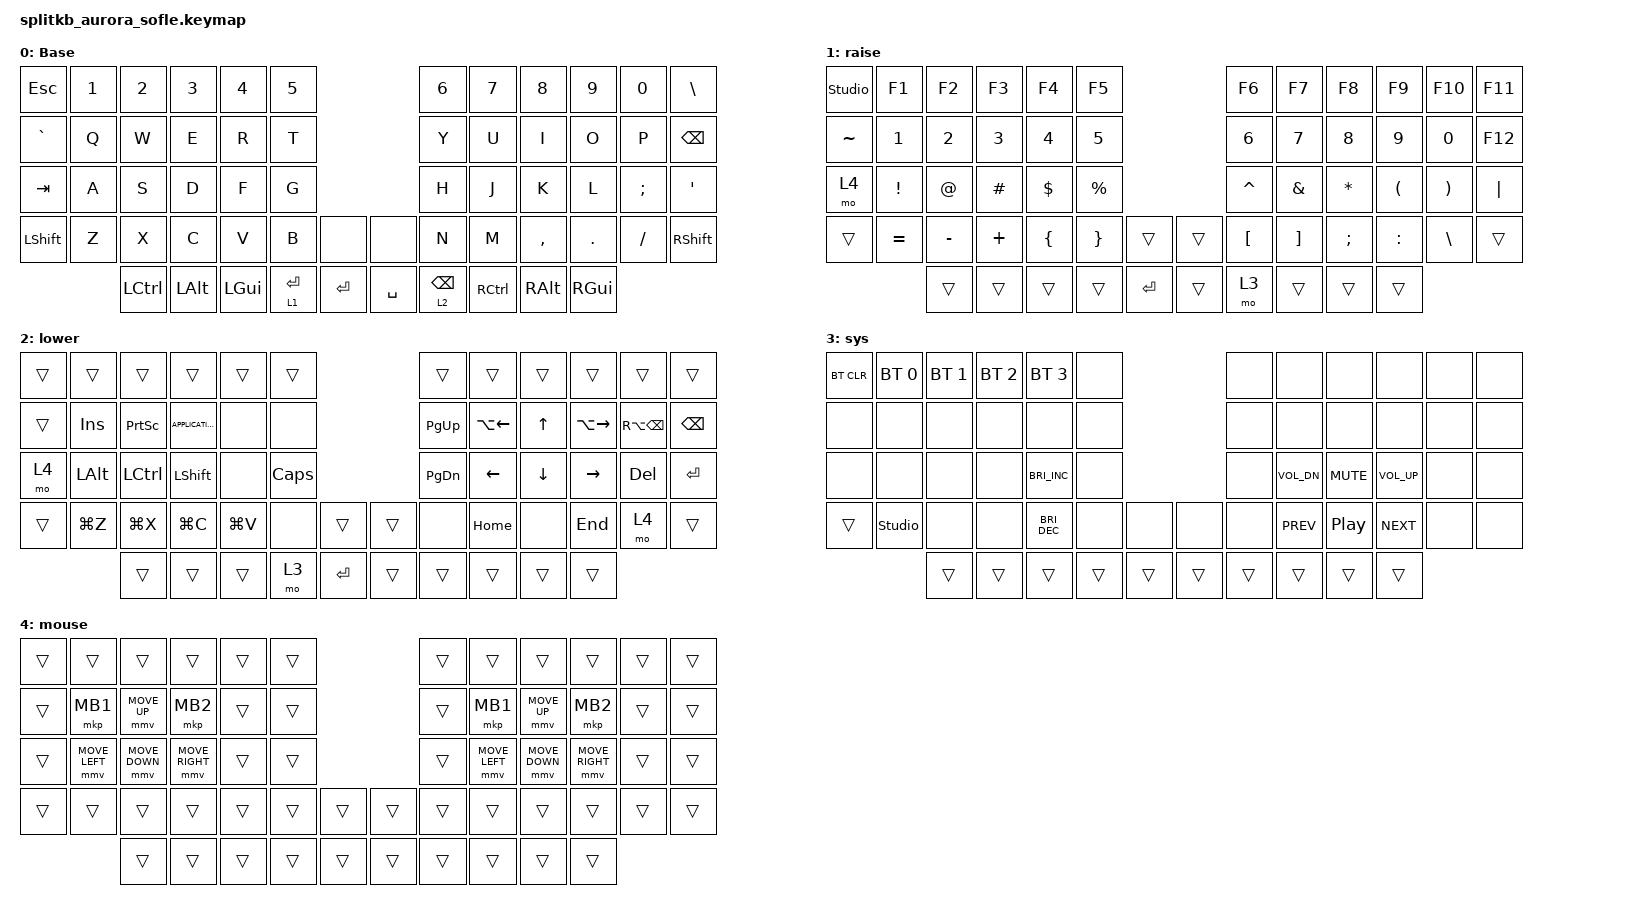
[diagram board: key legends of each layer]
/*
 * Copyright (c) 2023 The ZMK Contributors
 *
 * SPDX-License-Identifier: MIT
 */

#include <behaviors.dtsi>
#include <dt-bindings/zmk/bt.h>
#include <dt-bindings/zmk/keys.h>
#include <dt-bindings/zmk/pointing.h>

/ {
    combos {
        compatible = "zmk,combos";

        ctrl_l {
            key-positions = <26 27>;
            bindings = <&kp LCTRL>;
            layers = <0>;
        };

        opt_l {
            key-positions = <27 28>;
            bindings = <&kp LALT>;
            layers = <0>;
        };

        ctrl_opt_l {
            key-positions = <26 27 28>;
            bindings = <&kp LC(LALT)>;
            layers = <0>;
        };

        opt_r {
            key-positions = <31 32>;
            bindings = <&kp RALT>;
            layers = <0>;
        };

        ctrl_r {
            key-positions = <32 33>;
            bindings = <&kp RCTRL>;
            layers = <0>;
        };

        ctrl_opt_r {
            key-positions = <31 32 33>;
            bindings = <&kp RA(RCTRL)>;
            layers = <0>;
        };
    };

    keymap {
        compatible = "zmk,keymap";

        layer_0 {
            display-name = "Base";
            bindings = <
&kp ESC         &kp N1  &kp N2            &kp N3        &kp N4        &kp N5                               &kp N6           &kp N7             &kp N8         &kp N9         &kp N0         &kp BACKSLASH
&kp GRAVE       &kp Q   &kp W             &kp E         &kp R         &kp T                                &kp Y            &kp U              &kp I          &kp O          &kp P          &kp BACKSPACE
&kp TAB         &kp A   &kp S             &kp D         &kp F         &kp G                                &kp H            &kp J              &kp K          &kp L          &kp SEMICOLON  &kp SINGLE_QUOTE
&kp LEFT_SHIFT  &kp Z   &kp X             &kp C         &kp V         &kp B        &none        &none      &kp N            &kp M              &kp COMMA      &kp DOT        &kp SLASH      &kp RIGHT_SHIFT
                        &kp LEFT_CONTROL  &kp LEFT_ALT  &kp LEFT_GUI  &lt 1 ENTER  &kp ENTER    &kp SPACE  &lt 2 BACKSPACE  &kp RIGHT_CONTROL  &kp RIGHT_ALT  &kp RIGHT_GUI
            >;
        };

        raise {
            bindings = <
&studio_unlock  &kp F1     &kp F2     &kp F3    &kp F4          &kp F5                            &kp F6            &kp F7             &kp F8    &kp F9     &kp F10   &kp F11
&kp TILDE       &kp N1     &kp N2     &kp N3    &kp N4          &kp N5                            &kp N6            &kp N7             &kp N8    &kp N9     &kp N0    &kp F12
&mo 4           &kp EXCL   &kp AT     &kp HASH  &kp DOLLAR      &kp PERCENT                       &kp CARET         &kp AMPS           &kp STAR  &kp LPAR   &kp RPAR  &kp PIPE
&trans          &kp EQUAL  &kp MINUS  &kp PLUS  &kp LEFT_BRACE  &kp RBRC     &trans       &trans  &kp LEFT_BRACKET  &kp RIGHT_BRACKET  &kp SEMI  &kp COLON  &kp BSLH  &trans
                           &trans     &trans    &trans          &trans       &kp ENTER    &trans  &mo 3             &trans             &trans    &trans
            >;

            label = "raise";
        };

        lower {
            bindings = <
&trans  &trans        &trans            &trans             &trans     &trans                             &trans         &trans        &trans        &trans         &trans        &trans
&trans  &kp INS       &kp PRINTSCREEN   &kp K_APPLICATION  &none      &none                              &kp PAGE_UP    &kp LA(LEFT)  &kp UP_ARROW  &kp LA(RIGHT)  &kp RA(BSPC)  &kp BACKSPACE
&mo 4   &kp LEFT_ALT  &kp LEFT_CONTROL  &kp LEFT_SHIFT     &none      &kp CAPSLOCK                       &kp PAGE_DOWN  &kp LEFT      &kp DOWN      &kp RIGHT      &kp DELETE    &kp ENTER
&trans  &kp LG(Z)     &kp LG(X)         &kp LG(C)          &kp LG(V)  &none         &trans       &trans  &none          &kp HOME      &none         &kp END        &mo 4         &trans
                      &trans            &trans             &trans     &mo 3         &kp ENTER    &trans  &trans         &trans        &trans        &trans
            >;

            label = "lower";
        };

        layer_3 {
            bindings = <
&bt BT_CLR  &bt BT_SEL 0    &bt BT_SEL 1  &bt BT_SEL 2  &bt BT_SEL 3          &none                     &none   &none         &none             &none         &none  &none
&none       &none           &none         &none         &none                 &none                     &none   &none         &none             &none         &none  &none
&none       &none           &none         &none         &kp C_BRIGHTNESS_INC  &none                     &none   &kp C_VOL_DN  &kp C_MUTE        &kp C_VOL_UP  &none  &none
&trans      &studio_unlock  &none         &none         &kp C_BRI_DEC         &none   &none     &none   &none   &kp C_PREV    &kp C_PLAY_PAUSE  &kp C_NEXT    &none  &none
                            &trans        &trans        &trans                &trans  &trans    &trans  &trans  &trans        &trans            &trans
            >;

            label = "sys";
        };

        mouse {
            bindings = <
&trans  &trans          &trans          &trans           &trans  &trans                    &trans  &trans          &trans          &trans           &trans  &trans
&trans  &mkp MB1        &mmv MOVE_UP    &mkp MB2         &trans  &trans                    &trans  &mkp MB1        &mmv MOVE_UP    &mkp MB2         &trans  &trans
&trans  &mmv MOVE_LEFT  &mmv MOVE_DOWN  &mmv MOVE_RIGHT  &trans  &trans                    &trans  &mmv MOVE_LEFT  &mmv MOVE_DOWN  &mmv MOVE_RIGHT  &trans  &trans
&trans  &trans          &trans          &trans           &trans  &trans  &trans    &trans  &trans  &trans          &trans          &trans           &trans  &trans
                        &trans          &trans           &trans  &trans  &trans    &trans  &trans  &trans          &trans          &trans
            >;

            label = "mouse";
        };
    };

    conditional_layers { compatible = "zmk,conditional-layers"; };
};
